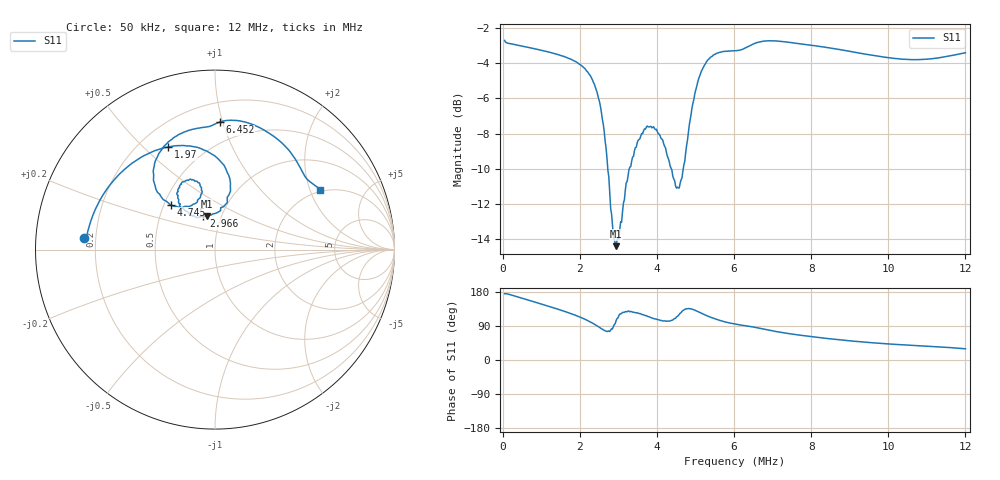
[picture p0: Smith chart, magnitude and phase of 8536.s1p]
# Hz S RI R 50
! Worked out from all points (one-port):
!   505 points, 50 kHz to 12 MHz, reference 50 ohm
!   lowest |S11| = -14.4 dB at 2.943 MHz (marker M1), VSWR 1.47, Z = 42.6 + j16.3 ohm
!   |S11| at or under -10 dB: 2.726 MHz to 3.282 MHz (556.7 kHz wide, 18.5 % of centre); 4.374 MHz to 4.683 MHz (308.9 kHz wide, 6.82 % of centre)
!   S11 on the Smith chart (normalised r, x): 50 kHz: 0.16, +0.04; 1.97 MHz: 0.31, +0.59; 2.966 MHz: 0.82, +0.32; 4.745 MHz: 0.54, +0.31; 6.452 MHz: 0.34, +0.98; 12 MHz: 1.94, +2.37
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50000  -0.7289 0.0647
808700  -0.6218 0.3082
1567400  -0.421 0.5089
1970500  -0.2627 0.5713
2326100  -0.0748 0.5611
2492110  0.0241 0.4987
2610610  0.0758 0.4151
2729210  0.0768 0.3031
2847710  0.0313 0.2169
2942610  -0.0473 0.1848
2966310  -0.0655 0.1876
3061110  -0.1174 0.1906
3321910  -0.1979 0.2525
3725010  -0.1878 0.3698
3962110  -0.1294 0.3877
4294010  -0.0753 0.3299
4554810  -0.1263 0.2488
4744510  -0.247 0.2481
4934220  -0.3332 0.3535
5100220  -0.3381 0.4666
5503220  -0.2139 0.633
6024920  -0.0571 0.6819
6451620  0.0254 0.7105
6878420  0.1375 0.7173
7542330  0.2718 0.6669
9036030  0.4349 0.5233
1.052974e7  0.5009 0.4079
1.199984e7  0.5875 0.333
